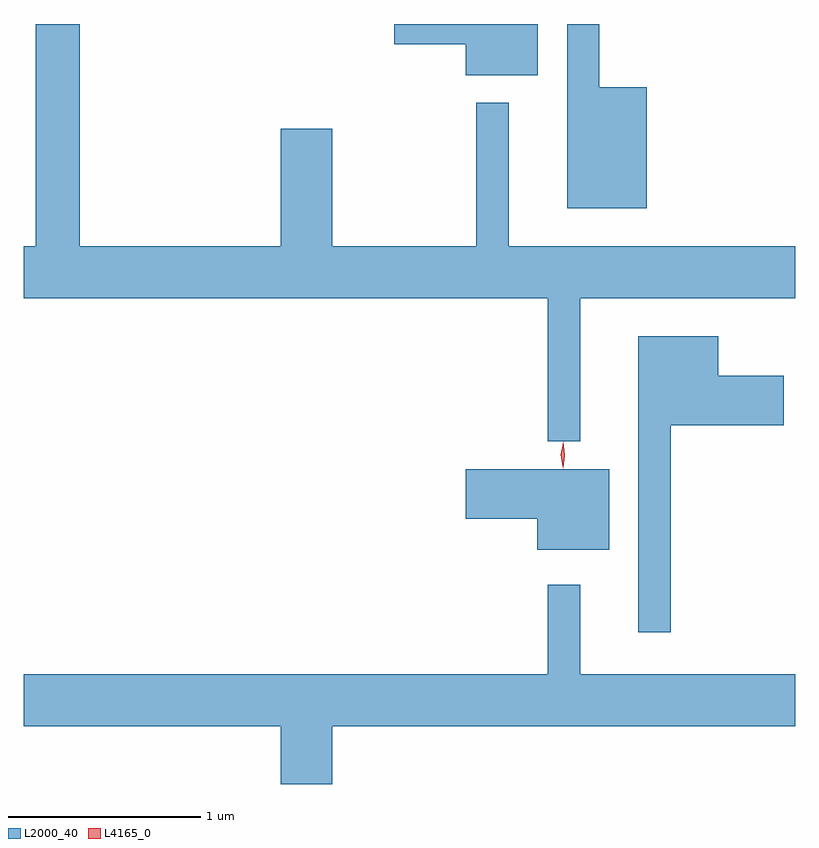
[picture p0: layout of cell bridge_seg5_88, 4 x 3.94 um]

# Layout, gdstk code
import gdstk
lib = gdstk.Library(unit=1e-6, precision=1e-09)
def P(c, l, *ps):  # polygons
    for p in ps: c.add(gdstk.Polygon(p, *l))
L2000_40 = (2000, 40)
L4165_0 = (4165, 0)

bridge_seg5_88 = lib.new_cell('bridge_seg5_88')
P(bridge_seg5_88, L2000_40, [(1075.769,1478.996),(1076.884,1478.996),(1076.884,1479.264),(1075.399,1479.264),(1075.399,1480.008),(1075.231,1480.008),(1075.231,1479.264),(1074.484,1479.264),(1074.484,1479.874),(1074.216,1479.874),(1074.216,1479.264),(1073.174,1479.264),(1073.174,1480.417),(1072.946,1480.417),(1072.946,1479.264),(1072.884,1479.264),(1072.884,1478.996),(1075.601,1478.996),(1075.601,1478.253),(1075.769,1478.253)],
  [(1076.114,1480.089),(1075.869,1480.089),(1075.869,1480.417),(1075.701,1480.417),(1075.701,1479.461),(1076.114,1479.461)],
  [(1075.549,1480.417),(1074.806,1480.417),(1074.806,1480.311),(1075.176,1480.311),(1075.176,1480.151),(1075.549,1480.151)],
  [(1076.239,1478.336),(1076.824,1478.336),(1076.824,1478.594),(1076.484,1478.594),(1076.484,1478.799),(1076.071,1478.799),(1076.071,1477.263),(1076.239,1477.263)],
  [(1075.919,1478.109),(1075.176,1478.109),(1075.176,1477.851),(1075.546,1477.851),(1075.546,1477.691),(1075.919,1477.691)],
  [(1072.884,1476.776),(1074.216,1476.776),(1074.216,1476.476),(1074.484,1476.476),(1074.484,1476.776),(1076.884,1476.776),(1076.884,1477.044),(1075.769,1477.044),(1075.769,1477.508),(1075.601,1477.508),(1075.601,1477.044),(1072.884,1477.044)])
P(bridge_seg5_88, L4165_0, [(1075.68,1478.114),(1075.68,1478.114),(1075.67,1478.182),(1075.68,1478.25),(1075.68,1478.25),(1075.681,1478.25),(1075.69,1478.182),(1075.681,1478.114)],
  [(1075.678,1478.12),(1075.678,1478.121),(1075.669,1478.184),(1075.68,1478.246),(1075.68,1478.247),(1075.681,1478.246),(1075.689,1478.184),(1075.679,1478.121)])

lib.write_gds('bridge_seg5_88.gds')
